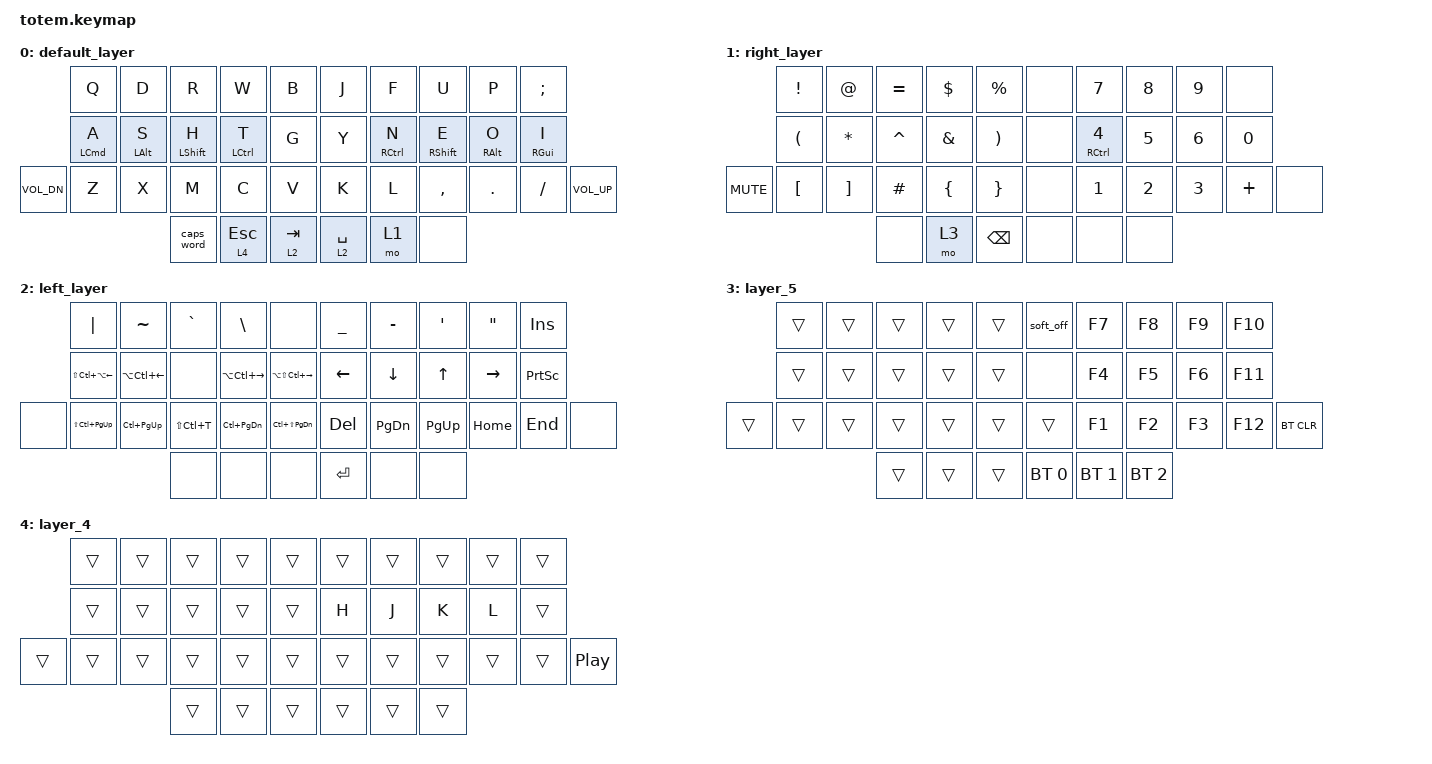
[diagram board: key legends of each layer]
// Copyright (c) 2022 The ZMK Contributors
// SPDX-License-Identifier: MIT

#include "zmk-helpers/helper.h"
#include "zmk-helpers/helper.h"
#include "zmk-helpers/key-labels/totem.h"
#include <behaviors.dtsi>
#include <dt-bindings/zmk/bt.h>
#include <dt-bindings/zmk/keys.h>

#define KEYS_L LT0 LT1 LT2 LT3 LT4 LM0 LM1 LM2 LM3 LM4 LB0 LB1 LB2 LB3 LB4 LB5
#define KEYS_R RT0 RT1 RT2 RT3 RT4 RM0 RM1 RM2 RM3 RM4 RB0 RB1 RB2 RB3 RB4 RB5
#define KEYS_T LH2 LH1 LH0 RH0 RH1 RH2

// Home row mods macro
// #define HRML(k1,k2,k3,k4) &ht LSHFT k1  &ht LALT k2  &ht LCTRL k3  &ht LGUI k4
// #define HRMR(k1,k2,k3,k4) &ht RGUI k1  &ht RCTRL k2  &ht RALT k3  &ht RSHFT k4

#define HM_TAPPING_TERM 280
#define HM_TAPPING_TERM_FAST 200
#define HM_PRIOR_IDLE 100

&lt {
    flavor = "balanced";
    tapping-term-ms = <HM_TAPPING_TERM>;
    hold-trigger-on-release;
};

/ {
    behaviors {
        // Positional Homerow mods
        // Homerow mods that prevent accidental activations when rolling keys,
        // such as when typing `st` or `ne` on colemak-dh layouts or `as` on
        // qwerty.
        //
        // Works by only allowing a mod to activate within tapping-term if
        // it's on the opposite side of the keyboard or on the same side thumb
        // keys.
        // Further optimization using urob's timerless homerow mods method:
        // https://github.com/urob/zmk-config#timeless-homerow-mods

        hm_l: homerow_mods_left {
            compatible = "zmk,behavior-hold-tap";
            #binding-cells = <2>;
            bindings = <&kp>, <&kp>;

            flavor = "balanced";
            tapping-term-ms = <HM_TAPPING_TERM>;
            quick-tap-ms = <175>;                // repeat on tap-into-hold
            require-prior-idle-ms = <HM_PRIOR_IDLE>;
            hold-trigger-key-positions = <KEYS_R KEYS_T>;
            hold-trigger-on-release;
        };

        hm_r: homerow_mods_right {
            compatible = "zmk,behavior-hold-tap";
            #binding-cells = <2>;
            bindings = <&kp>, <&kp>;

            flavor = "balanced";
            tapping-term-ms = <HM_TAPPING_TERM>;
            quick-tap-ms = <175>;
            require-prior-idle-ms = <HM_PRIOR_IDLE>;
            hold-trigger-key-positions = <KEYS_L KEYS_T>;
            hold-trigger-on-release;
        };

        // Positional Homerow mods for shift
        // Use faster tapping term and disable some features that may
        // cause false negatives.

        hm_shift_l: hm_shift_l {
            compatible = "zmk,behavior-hold-tap";
            #binding-cells = <2>;
            bindings = <&kp>, <&kp>;

            flavor = "balanced";
            tapping-term-ms = <HM_TAPPING_TERM_FAST>;
            quick-tap-ms = <175>;
            require-prior-idle-ms = <HM_PRIOR_IDLE>;
            hold-trigger-key-positions = <KEYS_R KEYS_T>;

            // hold-trigger-on-release;
        };

        hm_shift_r: hm_shift_r {
            compatible = "zmk,behavior-hold-tap";
            #binding-cells = <2>;
            bindings = <&kp>, <&kp>;

            flavor = "balanced";
            tapping-term-ms = <HM_TAPPING_TERM_FAST>;
            quick-tap-ms = <175>;
            require-prior-idle-ms = <HM_PRIOR_IDLE>;
            hold-trigger-key-positions = <KEYS_L KEYS_T>;

            // hold-trigger-on-release;
        };

        /*
         * Non-Positional Homerow Mods
         * Used for &mm_grescm_gui behavior on left hand.
         *
         * Usage: &hm LSHFT T
         * Tap: T
         * Tap-Tap-Hold: Repeat T
         * Hold: LSHIFT
         */

        hm: homerow_mods {
            compatible = "zmk,behavior-hold-tap";
            #binding-cells = <2>;
            bindings = <&kp>, <&kp>;

            flavor = "balanced";
            tapping-term-ms = <HM_TAPPING_TERM>;
            quick-tap-ms = <200>;
        };

        ht: hold_tap {
            compatible = "zmk,behavior-hold-tap";
            #binding-cells = <2>;
            flavor = "balanced";
            tapping-term-ms = <175>;
            bindings = <&kp>, <&kp>;

            hold-trigger-on-release;
        };

        hml: hml {
            compatible = "zmk,behavior-hold-tap";
            label = "HML";
            bindings = <&kp>, <&kp>;

            #binding-cells = <2>;
            tapping-term-ms = <200>;
            flavor = "tap-preferred";
            hold-trigger-key-positions = <5 6 7 8 9 15 16 17 18 19 25 26 27 28 29 32 33>;
            hold-trigger-on-release;
        };

        hmr: hmr {
            compatible = "zmk,behavior-hold-tap";
            label = "HMR";
            bindings = <&kp>, <&kp>;

            #binding-cells = <2>;
            tapping-term-ms = <200>;
            flavor = "tap-preferred";
            hold-trigger-key-positions = <0 1 2 3 4 10 11 12 13 14 20 21 22 23 24 30 31>;
            hold-trigger-on-release;
        };
    };

    conditional_layers { compatible = "zmk,conditional-layers"; };

    // combos {
    //     compatible = "zmk,combos";
    //
    //     caps_word {
    //         bindings = <&caps_word>;
    //         key-positions = <17 12>;
    //         require-prior-idle-ms = <200>;
    //     };
    // };

    keymap {
        compatible = "zmk,keymap";

        default_layer {
            bindings = <
              &kp Q         &kp D             &kp R                &kp W          &kp B        &kp J        &kp F          &kp U                &kp P              &kp SEMICOLON
              &hm_l LCMD A  &hm_l LEFT_ALT S  &hm_shift_l LSHFT H  &hm_l LCTRL T  &kp G        &kp Y        &hm_r RCTRL N  &hm_shift_r RSHFT E  &hm_r RIGHT_ALT O  &hm_r RGUI I
&kp C_VOL_DN  &kp Z         &kp X             &kp M                &kp C          &kp V        &kp K        &kp L          &kp COMMA            &kp DOT            &kp FSLH       &kp C_VOL_UP
                                              &caps_word           &lt 4 ESCAPE   &lt 2 TAB    &lt 2 SPACE  &mo 1          &none
            >;
        };

        right_layer {
            bindings = <
            &kp EXCLAMATION       &kp AT             &kp EQUAL  &kp DOLLAR      &kp PERCENT              &none  &kp N7                &kp N8        &kp N9        &none
            &kp LEFT_PARENTHESIS  &kp ASTERISK       &kp CARET  &kp AMPERSAND   &kp RIGHT_PARENTHESIS    &none  &hm_r RCTRL NUMBER_4  &kp N5        &kp NUMBER_6  &kp N0
&kp C_MUTE  &kp LEFT_BRACKET      &kp RIGHT_BRACKET  &kp HASH   &kp LEFT_BRACE  &kp RIGHT_BRACE          &none  &kp NUMBER_1          &kp NUMBER_2  &kp NUMBER_3  &kp PLUS  &none
                                                     &none      &mo 3           &kp BACKSPACE            &none  &none                 &none
            >;
        };

        left_layer {
            bindings = <
       &kp PIPE              &kp TILDE         &kp GRAVE      &kp BACKSLASH      &none                    &kp UNDERSCORE  &kp MINUS      &kp SQT      &kp DOUBLE_QUOTES  &kp INSERT
       &kp LS(LC(LA(LEFT)))  &kp LA(LC(LEFT))  &none          &kp LA(LC(RIGHT))  &kp LA(LS(LC(RIGHT)))    &kp LEFT        &kp DOWN       &kp UP       &kp RIGHT          &kp PRINTSCREEN
&none  &kp LS(LC(PG_UP))     &kp LC(PAGE_UP)   &kp LS(LC(T))  &kp LC(PAGE_DOWN)  &kp LC(LS(PAGE_DOWN))    &kp DEL         &kp PAGE_DOWN  &kp PAGE_UP  &kp HOME           &kp END          &none
                                               &none          &none              &none                    &kp ENTER       &none          &none
            >;
        };

        layer_5 {
            bindings = <
        &trans  &trans  &trans  &trans  &trans    &soft_off     &kp F7        &kp F8        &kp F9  &kp F10
        &trans  &trans  &trans  &trans  &trans    &none         &kp F4        &kp F5        &kp F6  &kp F11
&trans  &trans  &trans  &trans  &trans  &trans    &trans        &kp F1        &kp F2        &kp F3  &kp F12  &bt BT_CLR
                        &trans  &trans  &trans    &bt BT_SEL 0  &bt BT_SEL 1  &bt BT_SEL 2
            >;
        };

        layer_4 {
            bindings = <
        &trans  &trans  &trans  &trans  &trans    &trans  &trans  &trans  &trans  &trans
        &trans  &trans  &trans  &trans  &trans    &kp H   &kp J   &kp K   &kp L   &trans
&trans  &trans  &trans  &trans  &trans  &trans    &trans  &trans  &trans  &trans  &trans  &kp C_PLAY_PAUSE
                        &trans  &trans  &trans    &trans  &trans  &trans
            >;
        };
    };
};
